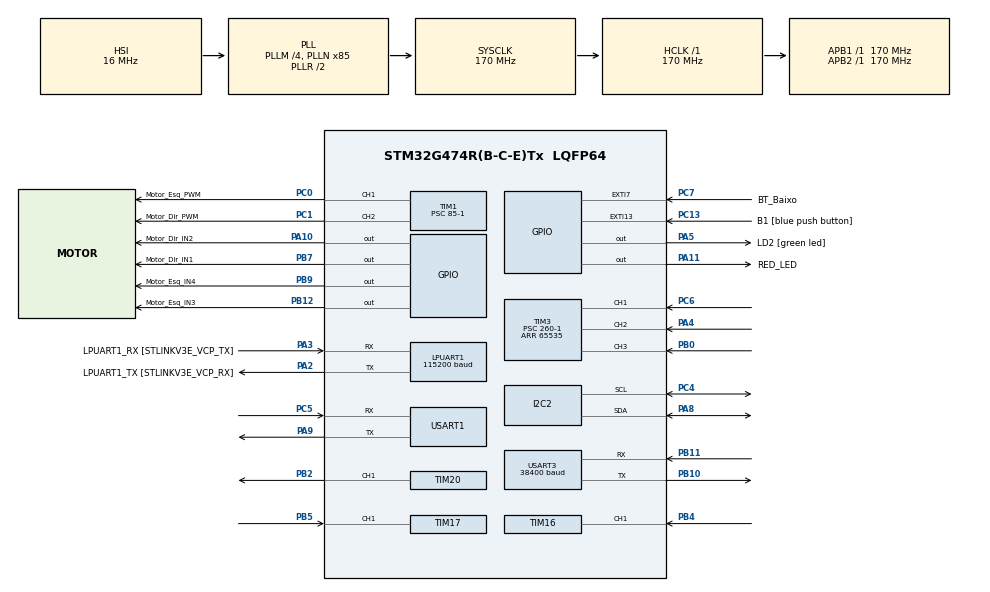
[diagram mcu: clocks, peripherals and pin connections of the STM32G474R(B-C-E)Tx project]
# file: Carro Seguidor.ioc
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Dma.I2C2_RX.0.Direction=DMA_PERIPH_TO_MEMORY
Dma.I2C2_RX.0.EventEnable=DISABLE
Dma.I2C2_RX.0.Instance=DMA1_Channel3
Dma.I2C2_RX.0.MemDataAlignment=DMA_MDATAALIGN_BYTE
Dma.I2C2_RX.0.MemInc=DMA_MINC_ENABLE
Dma.I2C2_RX.0.Mode=DMA_NORMAL
Dma.I2C2_RX.0.PeriphDataAlignment=DMA_PDATAALIGN_BYTE
Dma.I2C2_RX.0.PeriphInc=DMA_PINC_DISABLE
Dma.I2C2_RX.0.Polarity=HAL_DMAMUX_REQ_GEN_RISING
Dma.I2C2_RX.0.Priority=DMA_PRIORITY_LOW
Dma.I2C2_RX.0.RequestNumber=1
Dma.I2C2_RX.0.SignalID=NONE
Dma.I2C2_RX.0.SyncEnable=DISABLE
Dma.I2C2_RX.0.SyncPolarity=HAL_DMAMUX_SYNC_NO_EVENT
Dma.I2C2_RX.0.SyncRequestNumber=1
Dma.I2C2_RX.0.SyncSignalID=NONE
Dma.I2C2_TX.1.Direction=DMA_MEMORY_TO_PERIPH
Dma.I2C2_TX.1.EventEnable=DISABLE
Dma.I2C2_TX.1.Instance=DMA1_Channel4
Dma.I2C2_TX.1.MemDataAlignment=DMA_MDATAALIGN_BYTE
Dma.I2C2_TX.1.MemInc=DMA_MINC_ENABLE
Dma.I2C2_TX.1.Mode=DMA_NORMAL
Dma.I2C2_TX.1.PeriphDataAlignment=DMA_PDATAALIGN_BYTE
Dma.I2C2_TX.1.PeriphInc=DMA_PINC_DISABLE
Dma.I2C2_TX.1.Polarity=HAL_DMAMUX_REQ_GEN_RISING
Dma.I2C2_TX.1.Priority=DMA_PRIORITY_LOW
Dma.I2C2_TX.1.RequestNumber=1
Dma.I2C2_TX.1.SignalID=NONE
Dma.I2C2_TX.1.SyncEnable=DISABLE
Dma.I2C2_TX.1.SyncPolarity=HAL_DMAMUX_SYNC_NO_EVENT
Dma.I2C2_TX.1.SyncRequestNumber=1
Dma.I2C2_TX.1.SyncSignalID=NONE
Dma.Request0=I2C2_RX
Dma.Request1=I2C2_TX
I2C2.I2C_Fall_Time=0
I2C2.I2C_Rise_Time=0
I2C2.Timing=0x30A0A7FB
LPUART1.BaudRate=115200
LPUART1.WordLength=UART_WORDLENGTH_8B
Mcu.Family=STM32G4
Mcu.Name=STM32G474R(B-C-E)Tx
Mcu.Package=LQFP64
NVIC.DMA1_Channel3_IRQn=true\:5\:0\:true\:false\:true\:false\:true\:true
NVIC.DMA1_Channel4_IRQn=true\:5\:0\:true\:false\:true\:false\:true\:true
NVIC.EXTI15_10_IRQn=true\:3\:0\:true\:false\:true\:true\:true\:true
NVIC.I2C2_ER_IRQn=true\:5\:0\:true\:false\:true\:true\:true\:true
NVIC.I2C2_EV_IRQn=true\:5\:0\:true\:false\:true\:true\:true\:true
NVIC.PriorityGroup=NVIC_PRIORITYGROUP_4
NVIC.TIM1_TRG_COM_TIM17_IRQn=true\:0\:0\:false\:false\:true\:true\:true\:true
NVIC.TIM1_UP_TIM16_IRQn=true\:0\:0\:false\:false\:true\:true\:true\:true
NVIC.TIM2_IRQn=true\:0\:0\:false\:false\:true\:true\:true\:true
NVIC.TIM3_IRQn=true\:1\:0\:true\:false\:true\:true\:true\:true
NVIC.TIM5_IRQn=true\:0\:0\:false\:false\:true\:true\:true\:true
NVIC.TIM6_DAC_IRQn=true\:0\:0\:false\:false\:true\:true\:true\:true
NVIC.USART1_IRQn=true\:0\:0\:false\:false\:true\:true\:true\:true
NVIC.USART3_IRQn=true\:1\:0\:true\:false\:true\:true\:true\:true
PA10.GPIO_Label=Motor_Dir_IN2
PA10.Signal=GPIO_Output
PA11.GPIO_Label=RED_LED
PA11.Signal=GPIO_Output
PA13.GPIO_Label=T_SWDIO
PA13.Mode=Serial_Wire
PA13.Signal=SYS_JTMS-SWDIO
PA14.GPIO_Label=T_SWCLK
PA14.Mode=Serial_Wire
PA14.Signal=SYS_JTCK-SWCLK
PA2.GPIO_Label=LPUART1_TX [STLINKV3E_VCP_RX]
PA2.Mode=Asynchronous
PA2.Signal=LPUART1_TX
PA3.GPIO_Label=LPUART1_RX [STLINKV3E_VCP_TX]
PA3.Mode=Asynchronous
PA3.Signal=LPUART1_RX
PA4.Signal=S_TIM3_CH2
PA5.GPIO_Label=LD2 [green led]
PA5.Signal=GPIO_Output
PA8.Mode=I2C
PA8.Signal=I2C2_SDA
PA9.Mode=Asynchronous
PA9.Signal=USART1_TX
PB0.Signal=S_TIM3_CH3
PB10.Mode=Asynchronous
PB10.Signal=USART3_TX
PB11.Mode=Asynchronous
PB11.Signal=USART3_RX
PB12.GPIO_Label=Motor_Esq_IN3
PB12.Signal=GPIO_Output
PB2.Signal=S_TIM20_CH1
PB3.GPIO_Label=T_SWO
PB3.Signal=SYS_JTDO-SWO
PB4.Signal=S_TIM16_CH1
PB5.Signal=S_TIM17_CH1
PB7.GPIO_Label=Motor_Dir_IN1
PB7.Signal=GPIO_Output
PB9.GPIO_Label=Motor_Esq_IN4
PB9.Signal=GPIO_Output
PC0.GPIO_Label=Motor_Esq_PWM
PC0.Signal=S_TIM1_CH1
PC1.GPIO_Label=Motor_Dir_PWM
PC1.Signal=S_TIM1_CH2
PC13.GPIO_Label=B1 [blue push button]
PC13.Signal=GPXTI13
PC14-OSC32_IN.Mode=LSE-External-Oscillator
PC14-OSC32_IN.Signal=RCC_OSC32_IN
PC15-OSC32_OUT.Mode=LSE-External-Oscillator
PC15-OSC32_OUT.Signal=RCC_OSC32_OUT
PC4.Mode=I2C
PC4.Signal=I2C2_SCL
PC5.Mode=Asynchronous
PC5.Signal=USART1_RX
PC6.Signal=S_TIM3_CH1
PC7.GPIO_Label=BT_Baixo
PC7.Signal=GPXTI7
PF0-OSC_IN.Mode=HSE-External-Oscillator
PF0-OSC_IN.Signal=RCC_OSC_IN
PF1-OSC_OUT.Mode=HSE-External-Oscillator
PF1-OSC_OUT.Signal=RCC_OSC_OUT
ProjectManager.HeapSize=0x200
ProjectManager.StackSize=0x400
ProjectManager.TargetToolchain=STM32CubeIDE
RCC.ADC12Freq_Value=170000000
RCC.ADC345Freq_Value=170000000
RCC.AHBFreq_Value=170000000
RCC.APB1Freq_Value=170000000
RCC.APB1TimFreq_Value=170000000
RCC.APB2Freq_Value=170000000
RCC.APB2TimFreq_Value=170000000
RCC.CortexFreq_Value=170000000
RCC.EXTERNAL_CLOCK_VALUE=12288000
RCC.HCLKFreq_Value=170000000
RCC.HSE_VALUE=24000000
RCC.HSI48_VALUE=48000000
RCC.HSI_VALUE=16000000
RCC.PLLM=RCC_PLLM_DIV4
RCC.PLLN=85
RCC.RTCClockSelection=RCC_RTCCLKSOURCE_LSE
RCC.SYSCLKFreq_VALUE=170000000
RCC.SYSCLKSource=RCC_SYSCLKSOURCE_PLLCLK
RCC.USBFreq_Value=170000000
RCC.VCOOutputFreq_Value=340000000
SH.S_TIM16_CH1.0=TIM16_CH1,Input_Capture1_from_TI1
SH.S_TIM17_CH1.0=TIM17_CH1,Input_Capture1_from_TI1
SH.S_TIM1_CH1.0=TIM1_CH1,PWM Generation1 CH1
SH.S_TIM1_CH2.0=TIM1_CH2,PWM Generation2 CH2
SH.S_TIM20_CH1.0=TIM20_CH1,PWM Generation1 CH1
SH.S_TIM3_CH1.0=TIM3_CH1,Input_Capture1_from_TI1
SH.S_TIM3_CH2.0=TIM3_CH2,Input_Capture2_from_TI2
SH.S_TIM3_CH3.0=TIM3_CH3,Input_Capture3_from_TI3
TIM1.AutoReloadPreload=TIM_AUTORELOAD_PRELOAD_ENABLE
TIM1.Channel-PWM\ Generation1\ CH1=TIM_CHANNEL_1
TIM1.Channel-PWM\ Generation2\ CH2=TIM_CHANNEL_2
TIM1.PeriodNoDither=1000-1
TIM1.Prescaler=85-1
TIM16.Channel=TIM_CHANNEL_1
TIM16.ICFilter_CH1=15
TIM16.PeriodNoDither=10000
TIM16.Prescaler=170-1
TIM17.Channel=TIM_CHANNEL_1
TIM17.ICFilter_CH1=15
TIM17.PeriodNoDither=10000
TIM17.Prescaler=170-1
TIM2.AutoReloadPreload=TIM_AUTORELOAD_PRELOAD_ENABLE
TIM2.PeriodNoDither=10000
TIM2.Prescaler=170-1
TIM20.Channel-PWM\ Generation1\ CH1=TIM_CHANNEL_1
TIM20.PeriodNoDither=65535
TIM20.Prescaler=260-1
TIM3.Channel-Input_Capture1_from_TI1=TIM_CHANNEL_1
TIM3.Channel-Input_Capture2_from_TI2=TIM_CHANNEL_2
TIM3.Channel-Input_Capture3_from_TI3=TIM_CHANNEL_3
TIM3.ICPolarity_CH1=TIM_INPUTCHANNELPOLARITY_BOTHEDGE
TIM3.ICPolarity_CH2=TIM_INPUTCHANNELPOLARITY_BOTHEDGE
TIM3.ICPolarity_CH3=TIM_INPUTCHANNELPOLARITY_BOTHEDGE
TIM3.PeriodNoDither=65535
TIM3.Prescaler=260-1
TIM5.PeriodNoDither=10000-1
TIM5.Prescaler=170-1
TIM6.Prescaler=1700-1
USART1.VirtualMode-Asynchronous=VM_ASYNC
USART3.BaudRate=38400
USART3.VirtualMode-Asynchronous=VM_ASYNC
VP_SYS_VS_DBSignals.Mode=DisableDeadBatterySignals
VP_TIM16_VS_ClockSourceINT.Mode=Enable_Timer
VP_TIM17_VS_ClockSourceINT.Mode=Enable_Timer
VP_TIM20_VS_ClockSourceINT.Mode=Internal
VP_TIM2_VS_ClockSourceINT.Mode=Internal
VP_TIM3_VS_ClockSourceINT.Mode=Internal
VP_TIM5_VS_ClockSourceINT.Mode=Internal
VP_TIM6_VS_ClockSourceINT.Mode=Enable_Timer
board=NUCLEO-G474RE

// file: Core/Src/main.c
/* USER CODE BEGIN Header */
/**
  ******************************************************************************
  * @file           : main.c
  * @brief          : Main program body
  ******************************************************************************
  * @attention
  *
  * Copyright (c) 2024 STMicroelectronics.
  * All rights reserved.
  *
  * This software is licensed under terms that can be found in the LICENSE file
  * in the root directory of this software component.
  * If no LICENSE file comes with this software, it is provided AS-IS.
  *
  ******************************************************************************
  */
/* USER CODE END Header */
#include "main.h"
#include "dma.h"
#include "i2c.h"
#include "usart.h"
#include "tim.h"
#include "gpio.h"

/* USER CODE BEGIN Includes */

#include <stdio.h>
#include <string.h>
#include "ultrassonico.h"
#include "lcd_hd44780_i2c.h"
#include "communication.h"
#include "motors.h"
#include "timer.h"
#include "pid.h"
#include "commStateMachine.h"
#include "odometria.h"

/* USER CODE END Includes */

/* USER CODE BEGIN PTD */
typedef enum
{ Bit_RESET = 0,
  Bit_SET
}BitAction;

#define numValues 3

/* USER CODE END PTD */

/* USER CODE BEGIN PV */

//    Timer & Counters

TIM_HandleTypeDef * pTimerPWMTrigger = &htim20;
TIM_HandleTypeDef * pTimerEcoUltrassonicoFrontal = &htim3;
UART_HandleTypeDef * pV2V= &huart3;
TIM_HandleTypeDef * pTimDurationMotor = &htim5;
TIM_HandleTypeDef * pTimPWMMotor = &htim1;
//TIM_HandleTypeDef* pTimerPWMBuzzer = &htim8;
TIM_HandleTypeDef* pTimerBuzzer = &htim6;

//Timer de uso geral - conta 10ms
TIM_HandleTypeDef* pTimerGeral = &htim2;

// encoders
TIM_HandleTypeDef* pTimFreqFixa_esq = &htim16;
TIM_HandleTypeDef* pTimFreqFixa_dir = &htim17;
uint32_t uiLeftCapturedTime, uiRightCapturedTime;
unsigned int uiLeftTimeBurst, uiRightTimeBurst;
unsigned long long int ullLeftTimeRan, ullRightTimeRan;
float fLeftSpeed, fRightSpeed, fSpeedMedia, fRightMedia, fLeftMedia;
int iCount500ms=0;
//flags
//flags
char CountModeF=0;
char CountModeE=0;
char CountModeD=0;
char cBuzzerState=0;

uint16_t uiAuxDistanceUltrassonicoFrontal1=0;
uint16_t uiAuxDistanceUltrassonicoFrontal2=0;

uint16_t uiAuxDistanceUltrassonicoEsquerdo1=0;
uint16_t uiAuxDistanceUltrassonicoEsquerdo2=0;

uint16_t uiAuxDistanceUltrassonicoDireito1=0;
uint16_t uiAuxDistanceUltrassonicoDireito2=0;

//Controller PID Motors
pid_data_type xPidMotorRight;
pid_data_type xPidMotorLeft;
pid_data_type xPidDistance;
pid_data_type xPidSetSpeed;

float fActuatorValue_left, fActuatorValue_right=0;
float fActuatorValue_Distance,fActuatorValue_SetSpeed=0;
int iContaOutlier_left = 0, iContaOutlier_right = 0;

float fSpeed; //v
float fLeftMotorKp = 0.002; // a
float fLeftMotorKi = .025; // b
float fRightMotorKp = 0.002; // c
float fRightMotorKi = .025; // d

float fSetPoint_left = 0; //e
float fSetPoint_right = 0; //f

float fAvgLeftSpeed, fAvgRightSpeed;
float fVMax=250;
float fOffset=0.3;
float fOperation=0;
//Floats ultrassonico
float fDistanceFrontal,fEsq,Fdir=0;
float fDistanceEsquerdo=0;
float fDistanceDireito=0;
float dif;

/* USER CODE END PV */

void SystemClock_Config(void);

int main(void)
{

  /* USER CODE BEGIN 1 */
	//unsigned char ucLCD0Msg[17], ucLCD1Msg[17];

  /* USER CODE END 1 */

  /* MCU Configuration--------------------------------------------------------*/

  /* Reset of all peripherals, Initializes the Flash interface and the Systick. */
  HAL_Init();

  /* Configure the system clock */
  SystemClock_Config();

  /* Initialize all configured peripherals */
  MX_GPIO_Init();
  MX_DMA_Init();
  MX_LPUART1_UART_Init();
  MX_TIM3_Init();
  MX_TIM20_Init();
  MX_I2C2_Init();
  MX_TIM1_Init();
  MX_USART3_UART_Init();
  MX_TIM5_Init();
  MX_TIM16_Init();
  MX_TIM17_Init();
  MX_TIM6_Init();
  MX_TIM2_Init();
  MX_USART1_UART_Init();
  /* USER CODE BEGIN 2 */

  lcdInit(&hi2c2, (uint8_t)0x27, (uint8_t)2, (uint8_t)16);
  vUltrassonicoInit(pTimerEcoUltrassonicoFrontal,pTimerPWMTrigger) ;
  vCommunicationInit();

  vMotorsInit(pTimPWMMotor, pTimDurationMotor);
  vCommStateMachineInit(pV2V);

  vOdometriaInit();

  vTimerInit();
  iSetTimer(100);
  iSetTimer(500);

// seguidor
   xPidMotorLeft = vPidInit(xPidMotorLeft, fLeftMotorKp, fLeftMotorKi, 0, 100, 0.7);
   xPidMotorRight = vPidInit(xPidMotorRight, fRightMotorKp, fRightMotorKi, 0, 100, 0.7);
   xPidDistance = vPidInit(xPidDistance, 0.03, 0.02, 0, 100, 1);

   xPidSetSpeed = vPidInit(xPidSetSpeed, 0.015, 0.02, 0, 100, 1);

  /* USER CODE END 2 */

  /* Infinite loop */
  /* USER CODE BEGIN WHILE */

  HAL_TIM_Base_Start_IT(pTimDurationMotor);
  HAL_TIM_Base_Start_IT(pTimFreqFixa_esq);
  HAL_TIM_Base_Start_IT(pTimFreqFixa_dir);
  HAL_TIM_Base_Start_IT(pTimerGeral);
  HAL_TIM_IC_Start_IT(pTimFreqFixa_esq, TIM_CHANNEL_1);
  HAL_TIM_IC_Start_IT(pTimFreqFixa_dir, TIM_CHANNEL_1);

  fSetPoint_right=0;
  fSetPoint_left=0;

  //testes odometria
  //vMotorsSetPWM(right, 0.4, 1);
  //vMotorsSetPWM(left, 0.4, 1);

  	  while (1)
  {
    /* USER CODE END WHILE */

    /* USER CODE BEGIN 3 */
  		if(5==iCount500ms)
  		{
  	   	  // PRINT ODOMETRIA
  			lcdDisplayClear();
  	   	    vShowOdometry();

  			lcdDisplayClear();
  			lcdSetCursorPosition(0, 0);
  			lcdPrintStr("DF:", 3);

  		  	lcdSetCursorPosition(3, 0);
  		    lcdPrintStr((uint8_t*)pCommunicationFloatToString(fDistanceFrontal, 1), strlen((char *)pCommunicationFloatToString(fDistanceFrontal, 1)));

  		    lcdSetCursorPosition(8, 0);
  		    lcdPrintStr("VE:", 3);
  		  lcdSetCursorPosition(11, 0);
  		  	lcdPrintStr((uint8_t*)pCommunicationFloatToString(fLeftSpeed, 1), strlen((char *)pCommunicationFloatToString(fLeftSpeed, 1)));

  		    lcdSetCursorPosition(8, 1);
  		    lcdPrintStr("VD:", 3);
  		 	lcdSetCursorPosition(11, 1);
  		  	lcdPrintStr((uint8_t*)pCommunicationFloatToString(fRightSpeed, 1), strlen((char *)pCommunicationFloatToString(fRightSpeed, 1)));
  		  	iCount500ms=0;
  		}
  		dif=fDistanceEsquerdo-fDistanceDireito;

  		if(fDistanceFrontal>400){
  			fOperation=0;
  			vCommStateMachineSendMessage(pV2V, "#1so0;");
  		}

  	  }
  /* USER CODE END 3 */
}

void SystemClock_Config(void)
{
  RCC_OscInitTypeDef RCC_OscInitStruct = {0};
  RCC_ClkInitTypeDef RCC_ClkInitStruct = {0};

  /** Configure the main internal regulator output voltage
  */
  HAL_PWREx_ControlVoltageScaling(PWR_REGULATOR_VOLTAGE_SCALE1_BOOST);

  /** Initializes the RCC Oscillators according to the specified parameters
  * in the RCC_OscInitTypeDef structure.
  */
  RCC_OscInitStruct.OscillatorType = RCC_OSCILLATORTYPE_HSI;
  RCC_OscInitStruct.HSIState = RCC_HSI_ON;
  RCC_OscInitStruct.HSICalibrationValue = RCC_HSICALIBRATION_DEFAULT;
  RCC_OscInitStruct.PLL.PLLState = RCC_PLL_ON;
  RCC_OscInitStruct.PLL.PLLSource = RCC_PLLSOURCE_HSI;
  RCC_OscInitStruct.PLL.PLLM = RCC_PLLM_DIV4;
  RCC_OscInitStruct.PLL.PLLN = 85;
  RCC_OscInitStruct.PLL.PLLP = RCC_PLLP_DIV2;
  RCC_OscInitStruct.PLL.PLLQ = RCC_PLLQ_DIV2;
  RCC_OscInitStruct.PLL.PLLR = RCC_PLLR_DIV2;
  if (HAL_RCC_OscConfig(&RCC_OscInitStruct) != HAL_OK)
  {
    Error_Handler();
  }

  /** Initializes the CPU, AHB and APB buses clocks
  */
  RCC_ClkInitStruct.ClockType = RCC_CLOCKTYPE_HCLK|RCC_CLOCKTYPE_SYSCLK
                              |RCC_CLOCKTYPE_PCLK1|RCC_CLOCKTYPE_PCLK2;
  RCC_ClkInitStruct.SYSCLKSource = RCC_SYSCLKSOURCE_PLLCLK;
  RCC_ClkInitStruct.AHBCLKDivider = RCC_SYSCLK_DIV1;
  RCC_ClkInitStruct.APB1CLKDivider = RCC_HCLK_DIV1;
  RCC_ClkInitStruct.APB2CLKDivider = RCC_HCLK_DIV1;

  if (HAL_RCC_ClockConfig(&RCC_ClkInitStruct, FLASH_LATENCY_4) != HAL_OK)
  {
    Error_Handler();
  }
}

/* USER CODE BEGIN 4 */

void vShowOdometry() {
	odometry_state actual = xGetCurrentState();

	lcdSetCursorPosition(0, 0);
	lcdPrintStr("x:", 2);
	lcdSetCursorPosition(2, 0);
	lcdPrintStr((uint8_t*)pCommunicationFloatToString(actual.x, 3), strlen((char *)pCommunicationFloatToString(actual.x, 3)));

	lcdSetCursorPosition(8, 0);
	lcdPrintStr("o:", 2);
	lcdSetCursorPosition(10, 0);
	lcdPrintStr((uint8_t*)pCommunicationFloatToString(fRadToDegree(actual.angle_orientation), 1), strlen((char *)pCommunicationFloatToString(fRadToDegree(actual.angle_orientation), 1)));

	lcdSetCursorPosition(0, 1);
	lcdPrintStr("y:", 2);
	lcdSetCursorPosition(2, 1);
	lcdPrintStr((uint8_t*)pCommunicationFloatToString(actual.y, 3), strlen((char *)pCommunicationFloatToString(actual.y, 3)));
}

void vPeriodicControlTask(){

	   //seguidor

	fActuatorValue_SetSpeed=fPidUpdateData(xPidSetSpeed,-fDistanceFrontal, 6);
	  fSetPoint_right=fActuatorValue_SetSpeed*fVMax;
	  fSetPoint_left=fActuatorValue_SetSpeed*fVMax;

	if(dif<0&&fDistanceFrontal<200){
		//Curva para a direita
		fActuatorValue_Distance=fPidUpdateData(xPidDistance,dif, 0);
	}else if (dif>0&&fDistanceFrontal<200){
		fActuatorValue_Distance=-1*fPidUpdateData(xPidDistance,dif*-1, 0);
	}
	else
		fActuatorValue_Distance=0;

	  fActuatorValue_left = fPidUpdateData(xPidMotorLeft,fLeftSpeed, fSetPoint_left - (120*fActuatorValue_Distance));
	  fActuatorValue_left = fOffset + fActuatorValue_left ;

	  fActuatorValue_right = fPidUpdateData(xPidMotorRight, fRightSpeed , fSetPoint_right +(120*fActuatorValue_Distance));
	  fActuatorValue_right = fOffset  + fActuatorValue_right;

	  if(16.0>fDistanceFrontal || fDistanceEsquerdo<15  || fDistanceDireito<15|| fOperation==0){
		  fActuatorValue_left=0;
	  	  fActuatorValue_right=0;
	  }
	  vMotorsSetPWM(left, fActuatorValue_left, 1);
	  vMotorsSetPWM(right, fActuatorValue_right, 1);
}

void HAL_TIM_PeriodElapsedCallback (TIM_HandleTypeDef * htim){
	if (htim == pTimDurationMotor)
	{
	vMotorsDurationCallback();
	}

	//conta 10 ms
	if (htim == pTimerGeral) {

		if (fRightSpeed > 700) {
			iContaOutlier_right++;
		}
		fAvgLeftSpeed += fLeftSpeed;

		if (fLeftSpeed > 700) {
			iContaOutlier_left++;
		}
		fAvgRightSpeed += fRightSpeed;

		//conta 100 ms
		if (cCountTime(10, 0)) {
			fAvgRightSpeed /= 10;
			fAvgLeftSpeed /= 10;
			vPeriodicControlTask();

			// d = v*t (x10^-3) [m]
			vCountOdometria(fAvgLeftSpeed*0.0001, fAvgRightSpeed*0.0001);

			fAvgRightSpeed = 0;
			fAvgLeftSpeed = 0;
			iCount500ms++;
		}

	}

	if (htim == pTimFreqFixa_esq){
		if(uiLeftTimeBurst > 200){
			uiLeftTimeBurst = 1;
			fLeftSpeed = 0;
		}else{
		uiLeftTimeBurst++;
		}
	}

	if (htim == pTimFreqFixa_dir){
		if(uiRightTimeBurst > 200){
			uiRightTimeBurst = 1;
			fRightSpeed = 0;
		}else{
		uiRightTimeBurst++;
		}
	}

	if (htim == pTimerBuzzer){
//		vBuzzerStop();
	}
}

void HAL_TIM_IC_CaptureCallback(TIM_HandleTypeDef * htim){
//Ultrassonicos
	 if(htim == pTimerEcoUltrassonicoFrontal){

	  if (htim->Channel == HAL_TIM_ACTIVE_CHANNEL_1)
	      {
		  if(0==CountModeF){
			  uiAuxDistanceUltrassonicoFrontal1= HAL_TIM_ReadCapturedValue(pTimerEcoUltrassonicoFrontal,TIM_CHANNEL_1);
			  CountModeF=1;
		  }else{
			  uiAuxDistanceUltrassonicoFrontal2 = HAL_TIM_ReadCapturedValue(pTimerEcoUltrassonicoFrontal,TIM_CHANNEL_1);
    		  //if(!(fUltrassonicoGetDistance( uiAuxDistanceUltrassonicoFrontal1 , uiAuxDistanceUltrassonicoFrontal2)-fDistanceFrontal>50 ||fUltrassonicoGetDistance( uiAuxDistanceUltrassonicoFrontal1 , uiAuxDistanceUltrassonicoFrontal2)-fDistanceFrontal<-50) )
			   fDistanceFrontal=fUltrassonicoGetDistance( uiAuxDistanceUltrassonicoFrontal1 , uiAuxDistanceUltrassonicoFrontal2);
			  CountModeF=0;
		  }
	      }

	      else if (htim->Channel == HAL_TIM_ACTIVE_CHANNEL_2)
	      {
	    	  if(0==CountModeE){
	    		  uiAuxDistanceUltrassonicoEsquerdo1=HAL_TIM_ReadCapturedValue(pTimerEcoUltrassonicoFrontal,TIM_CHANNEL_2);
	    		  CountModeE=1;
	    	  }else{
	    		  uiAuxDistanceUltrassonicoEsquerdo2=HAL_TIM_ReadCapturedValue(pTimerEcoUltrassonicoFrontal,TIM_CHANNEL_2);
	    		  //if(!(fUltrassonicoGetDistance( uiAuxDistanceUltrassonicoEsquerdo1 , uiAuxDistanceUltrassonicoEsquerdo2)-fDistanceEsquerdo>50 ||fUltrassonicoGetDistance( uiAuxDistanceUltrassonicoEsquerdo1 , uiAuxDistanceUltrassonicoEsquerdo2)-fDistanceEsquerdo<-50) )
				   fDistanceEsquerdo=fUltrassonicoGetDistance( uiAuxDistanceUltrassonicoEsquerdo1 , uiAuxDistanceUltrassonicoEsquerdo2);
	    		  CountModeE=0;
	    	  }

	      }
	      else if (htim->Channel == HAL_TIM_ACTIVE_CHANNEL_3)
	      {
	    	  if(0==CountModeD){
	    		  uiAuxDistanceUltrassonicoDireito1=HAL_TIM_ReadCapturedValue(pTimerEcoUltrassonicoFrontal,TIM_CHANNEL_3);
	    		  CountModeD=1;
	    	  }else{
	    		  uiAuxDistanceUltrassonicoDireito2=HAL_TIM_ReadCapturedValue(pTimerEcoUltrassonicoFrontal,TIM_CHANNEL_3);

	    		  //if(!(fUltrassonicoGetDistance( uiAuxDistanceUltrassonicoDireito1 , uiAuxDistanceUltrassonicoDireito2)-fDistanceDireito>50 ||fUltrassonicoGetDistance( uiAuxDistanceUltrassonicoDireito1 , uiAuxDistanceUltrassonicoDireito2)-fDistanceDireito<-50) )
				   fDistanceDireito=fUltrassonicoGetDistance( uiAuxDistanceUltrassonicoDireito1 , uiAuxDistanceUltrassonicoDireito2);
	    		  CountModeD=0;
	    	  }
	      }

	  if(fDistanceFrontal<0){
		  fDistanceFrontal=fDistanceFrontal*(-1);
	  }
	  if(fDistanceEsquerdo<0)
		  fDistanceEsquerdo=fDistanceEsquerdo*(-1);

	  }
//ENCODERS
  if (htim == pTimFreqFixa_esq)
  	{
  		uiLeftCapturedTime =  HAL_TIM_ReadCapturedValue(htim,  TIM_CHANNEL_1);
  		if (uiLeftTimeBurst != 0)
  			ullLeftTimeRan = uiLeftCapturedTime + uiLeftTimeBurst*10000;
  		else
  			ullLeftTimeRan = uiLeftCapturedTime;
  		__HAL_TIM_SET_COUNTER(htim, 0);
  		uiLeftTimeBurst = 0;
  		fLeftSpeed = 10.0f/(ullLeftTimeRan/1000000.0f); //velocidade em mm/s
  	}

  if (htim == pTimFreqFixa_dir)
  	{
  		uiRightCapturedTime =  HAL_TIM_ReadCapturedValue(htim,  TIM_CHANNEL_1);
  		if (uiRightTimeBurst != 0)
  		{
  			ullRightTimeRan = uiRightCapturedTime + uiRightTimeBurst*10000;
  		}
  		else
  		{
  			ullRightTimeRan = uiRightCapturedTime;
  		}
  		__HAL_TIM_SET_COUNTER(htim, 0);
  		uiRightTimeBurst = 0;
  		fRightSpeed = 10.0f/(ullRightTimeRan/1000000.0f); //velocidade em mm/s
  	}
}

void HAL_GPIO_EXTI_Callback(uint16_t GPIO_Pin){

	if(GPIO_Pin==GPIO_PIN_7){
		vMotorsSetPWM(left, 1, 1);
		vMotorsSetPWM(right, 1, 0);
	}

	if(GPIO_Pin==GPIO_PIN_5){
		vMotorsSetOff(left);
		vMotorsSetOff(right);
	}

}

/* USER CODE END 4 */

void Error_Handler(void)
{
  __disable_irq();
  while (1)
  {
  }
}
